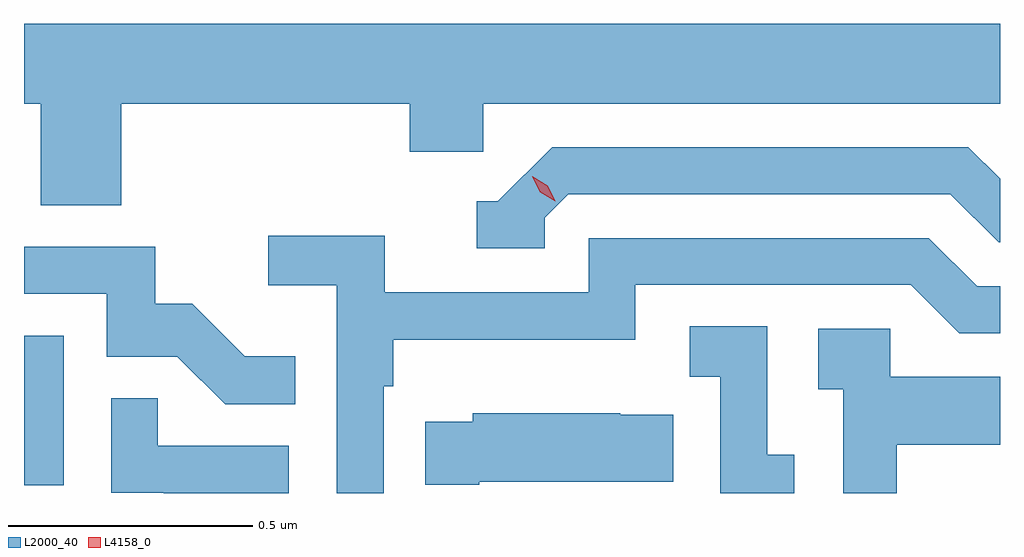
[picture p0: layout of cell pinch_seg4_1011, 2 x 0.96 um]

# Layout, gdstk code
import gdstk
lib = gdstk.Library(unit=1e-6, precision=1e-09)
def R(c, l, rs):  # rectangles x0, y0, x1, y1
    for r in rs: c.add(gdstk.rectangle(r[:2], r[2:], *l))
def P(c, l, *ps):  # polygons
    for p in ps: c.add(gdstk.Polygon(p, *l))
L2000_40 = (2000, 40)
L4158_0 = (4158, 0)

pinch_seg4_1011 = lib.new_cell('pinch_seg4_1011')
R(pinch_seg4_1011, L2000_40, [(831.625,788.046,831.706,788.353)])
P(pinch_seg4_1011, L2000_40, [(831.625,788.828),(831.659,788.828),(831.659,788.62),(831.824,788.62),(831.824,788.828),(832.415,788.828),(832.415,788.73),(832.566,788.73),(832.566,788.828),(833.625,788.828),(833.625,788.992),(831.625,788.992)],
  [(832.692,788.595),(832.74,788.643),(833.523,788.643),(833.622,788.544),(833.625,788.544),(833.625,788.674),(833.56,788.739),(832.707,788.739),(832.596,788.628),(832.553,788.628),(832.553,788.532),(832.692,788.532)],
  [(832.362,788.249),(832.382,788.249),(832.382,788.345),(832.878,788.345),(832.878,788.457),(833.442,788.457),(833.541,788.358),(833.625,788.358),(833.625,788.454),(833.578,788.454),(833.479,788.553),(832.782,788.553),(832.782,788.442),(832.364,788.442),(832.364,788.558),(832.125,788.558),(832.125,788.456),(832.266,788.456),(832.266,788.03),(832.362,788.03)],
  [(832.181,788.311),(832.077,788.311),(831.97,788.418),(831.894,788.418),(831.894,788.535),(831.625,788.535),(831.625,788.439),(831.795,788.439),(831.795,788.31),(831.939,788.31),(832.037,788.212),(832.181,788.212)],
  [(833.203,788.109),(833.148,788.109),(833.148,788.372),(832.989,788.372),(832.989,788.269),(833.052,788.269),(833.052,788.03),(833.203,788.03)],
  [(833.413,788.129),(833.625,788.129),(833.625,788.269),(833.4,788.269),(833.4,788.367),(833.253,788.367),(833.253,788.243),(833.304,788.243),(833.304,788.03),(833.413,788.03)],
  [(832.168,788.127),(831.899,788.127),(831.899,788.225),(831.804,788.225),(831.804,788.031),(831.911,788.031),(831.911,788.03),(832.168,788.03)],
  [(832.558,788.054),(832.955,788.054),(832.955,788.191),(832.847,788.191),(832.847,788.194),(832.545,788.194),(832.545,788.176),(832.447,788.176),(832.447,788.047),(832.558,788.047)])
P(pinch_seg4_1011, L4158_0, [(832.714,788.628),(832.683,788.647),(832.667,788.679),(832.667,788.68),(832.667,788.68),(832.698,788.66),(832.714,788.628),(832.714,788.628)])

lib.write_gds('pinch_seg4_1011.gds')
